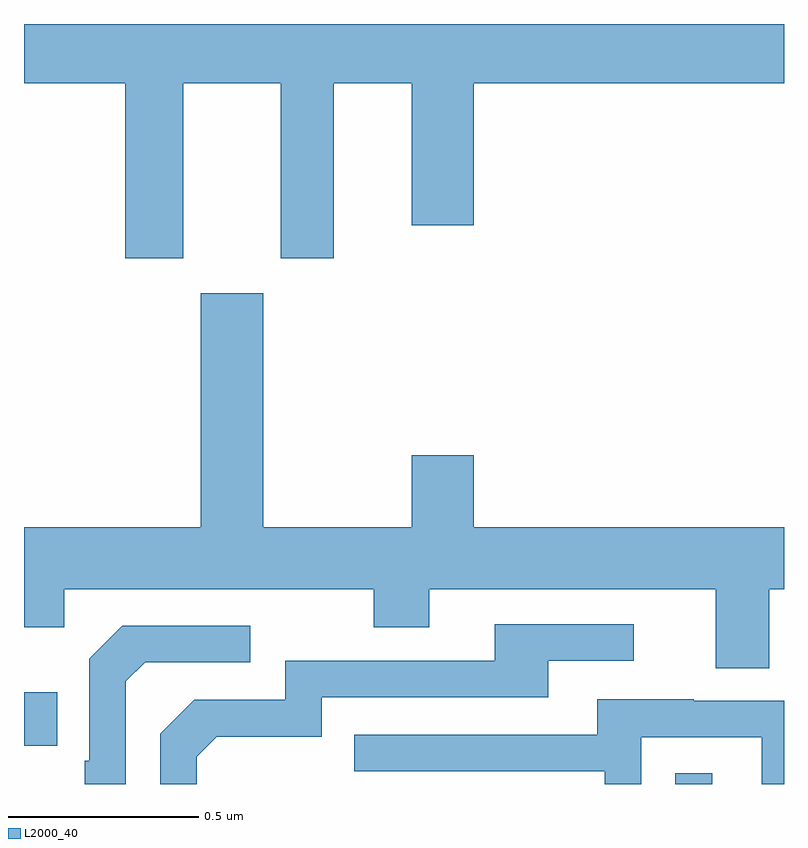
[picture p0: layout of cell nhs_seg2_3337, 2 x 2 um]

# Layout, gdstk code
import gdstk
lib = gdstk.Library(unit=1e-6, precision=1e-09)
def R(c, l, rs):  # rectangles x0, y0, x1, y1
    for r in rs: c.add(gdstk.rectangle(r[:2], r[2:], *l))
def P(c, l, *ps):  # polygons
    for p in ps: c.add(gdstk.Polygon(p, *l))
L2000_40 = (2000, 40)

nhs_seg2_3337 = lib.new_cell('nhs_seg2_3337')
R(nhs_seg2_3337, L2000_40, [(153.714,637.8,153.811,637.828), (152,637.901,152.087,638.041)])
P(nhs_seg2_3337, L2000_40, [(152.419,639.644),(152.675,639.644),(152.675,639.183),(152.815,639.183),(152.815,639.644),(153.02,639.644),(153.02,639.27),(153.184,639.27),(153.184,639.644),(154,639.644),(154,639.8),(152,639.8),(152,639.644),(152.267,639.644),(152.267,639.183),(152.419,639.183)],
  [(153.184,638.665),(153.02,638.665),(153.02,638.476),(152.629,638.476),(152.629,639.091),(152.465,639.091),(152.465,638.476),(152,638.476),(152,638.213),(152.106,638.213),(152.106,638.312),(152.92,638.312),(152.92,638.213),(153.067,638.213),(153.067,638.312),(153.821,638.312),(153.821,638.104),(153.961,638.104),(153.961,638.312),(154,638.312),(154,638.476),(153.184,638.476)],
  [(152.454,637.872),(152.507,637.925),(152.784,637.925),(152.784,638.028),(153.379,638.028),(153.379,638.124),(153.604,638.124),(153.604,638.22),(153.239,638.22),(153.239,638.124),(152.688,638.124),(152.688,638.022),(152.448,638.022),(152.358,637.932),(152.358,637.8),(152.454,637.8)],
  [(152.268,638.07),(152.319,638.121),(152.596,638.121),(152.596,638.217),(152.259,638.217),(152.172,638.13),(152.172,637.861),(152.16,637.861),(152.16,637.8),(152.268,637.8)],
  [(153.624,637.923),(153.942,637.923),(153.942,637.8),(154,637.8),(154,638.019),(153.763,638.019),(153.763,638.023),(153.509,638.023),(153.509,637.929),(152.869,637.929),(152.869,637.833),(153.528,637.833),(153.528,637.8),(153.624,637.8)])

lib.write_gds('nhs_seg2_3337.gds')
